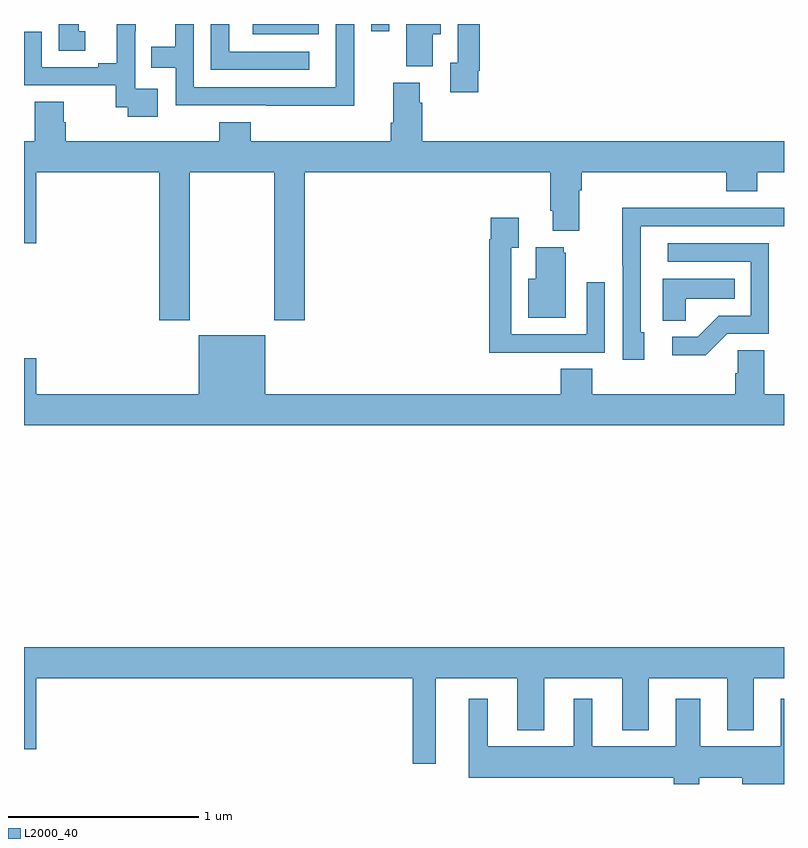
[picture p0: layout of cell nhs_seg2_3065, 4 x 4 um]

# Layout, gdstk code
import gdstk
lib = gdstk.Library(unit=1e-6, precision=1e-09)
def R(c, l, rs):  # rectangles x0, y0, x1, y1
    for r in rs: c.add(gdstk.rectangle(r[:2], r[2:], *l))
def P(c, l, *ps):  # polygons
    for p in ps: c.add(gdstk.Polygon(p, *l))
L2000_40 = (2000, 40)

nhs_seg2_3065 = lib.new_cell('nhs_seg2_3065')
R(nhs_seg2_3065, L2000_40, [(274.203,597.746,274.552,597.8), (274.827,597.762,274.923,597.8)])
P(nhs_seg2_3065, L2000_40, [(274.501,597.654),(274.08,597.654),(274.08,597.8),(273.984,597.8),(273.984,597.558),(274.501,597.558)],
  [(275.392,597.553),(275.399,597.553),(275.399,597.8),(275.283,597.8),(275.283,597.597),(275.243,597.597),(275.243,597.441),(275.392,597.441)],
  [(275.152,597.746),(275.194,597.746),(275.194,597.8),(275.012,597.8),(275.012,597.577),(275.152,597.577)],
  [(274.739,597.674),(274.737,597.674),(274.737,597.8),(274.641,597.8),(274.641,597.468),(273.894,597.468),(273.894,597.8),(273.797,597.8),(273.797,597.679),(273.67,597.679),(273.67,597.57),(273.798,597.57),(273.798,597.372),(274.276,597.372),(274.276,597.371),(274.739,597.371)],
  [(273.322,597.762),(273.289,597.762),(273.289,597.8),(273.182,597.8),(273.182,597.658),(273.322,597.658)],
  [(273.703,597.459),(273.585,597.459),(273.585,597.763),(273.587,597.763),(273.587,597.8),(273.488,597.8),(273.488,597.593),(273.392,597.593),(273.392,597.573),(273.093,597.573),(273.093,597.759),(273,597.759),(273,597.477),(273.484,597.477),(273.484,597.363),(273.547,597.363),(273.547,597.312),(273.703,597.312)],
  [(273.873,597.02),(274.318,597.02),(274.318,596.241),(274.478,596.241),(274.478,597.02),(275.771,597.02),(275.771,596.818),(275.783,596.818),(275.783,596.711),(275.923,596.711),(275.923,596.924),(275.936,596.924),(275.936,597.02),(276.695,597.02),(276.695,596.921),(276.86,596.921),(276.86,597.02),(277,597.02),(277,597.184),(275.096,597.184),(275.096,597.386),(275.083,597.386),(275.083,597.492),(274.943,597.492),(274.943,597.28),(274.931,597.28),(274.931,597.184),(274.193,597.184),(274.193,597.283),(274.028,597.283),(274.028,597.184),(273.221,597.184),(273.221,597.282),(273.208,597.282),(273.208,597.392),(273.056,597.392),(273.056,597.184),(273,597.184),(273,596.646),(273.064,596.646),(273.064,597.02),(273.713,597.02),(273.713,596.241),(273.873,596.241)],
  [(276.265,596.178),(276.246,596.178),(276.246,596.736),(277,596.736),(277,596.832),(276.611,596.832),(276.611,596.834),(276.148,596.834),(276.148,596.527),(276.15,596.527),(276.15,596.034),(276.265,596.034)],
  [(275.741,596.07),(276.057,596.07),(276.057,596.44),(275.961,596.44),(275.961,596.166),(275.565,596.166),(275.565,596.623),(275.605,596.623),(275.605,596.779),(275.457,596.779),(275.457,596.666),(275.449,596.666),(275.449,596.069),(275.741,596.069)],
  [(276.702,596.169),(276.921,596.169),(276.921,596.646),(276.387,596.646),(276.387,596.55),(276.825,596.55),(276.825,596.265),(276.656,596.265),(276.545,596.154),(276.411,596.154),(276.411,596.057),(276.589,596.057)],
  [(275.851,596.595),(275.84,596.595),(275.84,596.626),(275.693,596.626),(275.693,596.458),(275.654,596.458),(275.654,596.255),(275.851,596.255)],
  [(276.483,596.354),(276.74,596.354),(276.74,596.458),(276.362,596.458),(276.362,596.239),(276.483,596.239)],
  [(277,595.852),(276.895,595.852),(276.895,596.084),(276.756,596.084),(276.756,595.961),(276.743,595.961),(276.743,595.852),(275.99,595.852),(275.99,595.985),(275.825,595.985),(275.825,595.852),(274.27,595.852),(274.27,596.161),(273.92,596.161),(273.92,595.852),(273.064,595.852),(273.064,596.041),(273,596.041),(273,595.688),(277,595.688)],
  [(275.167,594.356),(275.597,594.356),(275.597,594.083),(275.737,594.083),(275.737,594.356),(276.149,594.356),(276.149,594.083),(276.289,594.083),(276.289,594.356),(276.701,594.356),(276.701,594.083),(276.841,594.083),(276.841,594.356),(277,594.356),(277,594.52),(273,594.52),(273,593.982),(273.064,593.982),(273.064,594.356),(275.046,594.356),(275.046,593.907),(275.167,593.907)],
  [(276.553,593.834),(276.779,593.834),(276.779,593.8),(277,593.8),(277,594.25),(276.983,594.25),(276.983,593.998),(276.559,593.998),(276.559,594.25),(276.431,594.25),(276.431,593.998),(275.992,593.998),(275.992,594.25),(275.894,594.25),(275.894,593.998),(275.44,593.998),(275.44,594.25),(275.342,594.25),(275.342,593.834),(276.419,593.834),(276.419,593.8),(276.553,593.8)])

lib.write_gds('nhs_seg2_3065.gds')
